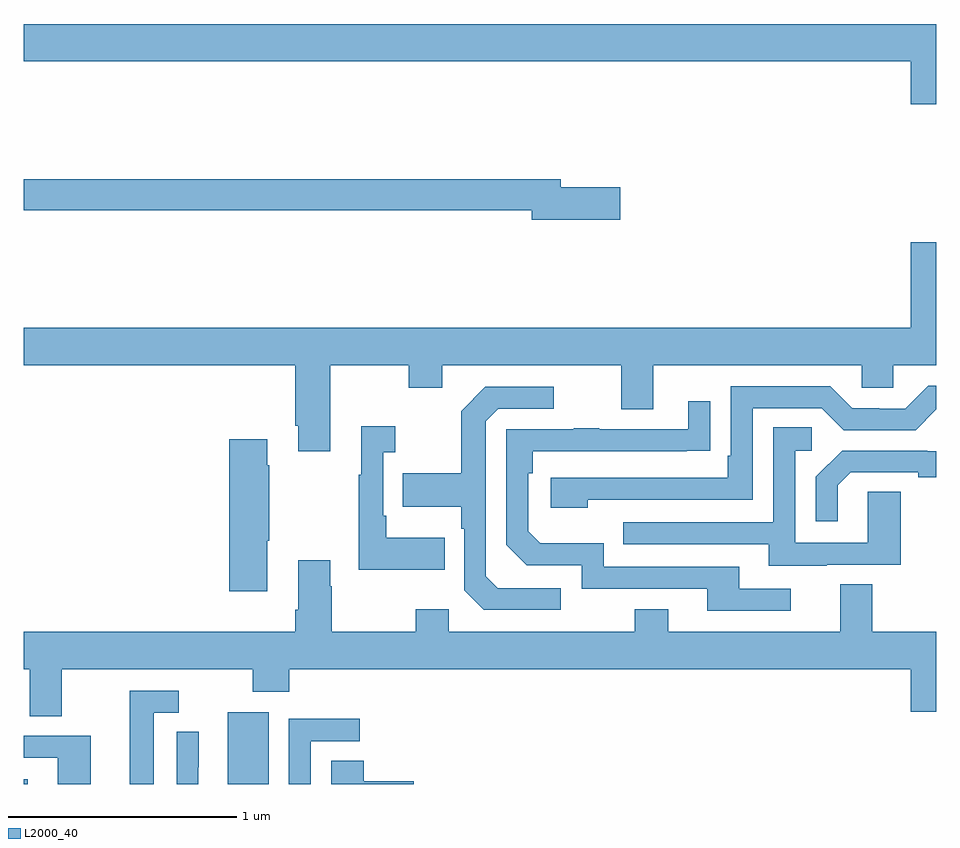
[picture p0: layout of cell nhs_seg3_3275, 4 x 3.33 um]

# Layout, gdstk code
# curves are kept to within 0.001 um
import gdstk
lib = gdstk.Library(unit=1e-6, precision=1e-09)
def R(c, l, rs):  # rectangles x0, y0, x1, y1
    for r in rs: c.add(gdstk.rectangle(r[:2], r[2:], *l))
def P(c, l, *ps):  # polygons
    for p in ps: c.add(gdstk.Polygon(p, *l))
L2000_40 = (2000, 40)

nhs_seg3_3275 = lib.new_cell('nhs_seg3_3275')
R(nhs_seg3_3275, L2000_40, [(281,712.4,281.017,712.42), (281.894,712.4,282.073,712.714)])
P(nhs_seg3_3275, L2000_40, [(285,715.732),(281,715.732),(281,715.568),(284.888,715.568),(284.888,715.38),(285,715.38)],
  [(283.615,715.016),(283.354,715.016),(283.354,715.052),(281,715.052),(281,714.916),(283.226,714.916),(283.226,714.874),(283.615,714.874)],
  [(282.343,714.236),(282.688,714.236),(282.688,714.137),(282.835,714.137),(282.835,714.236),(283.619,714.236),(283.619,714.042),(283.759,714.042),(283.759,714.236),(284.673,714.236),(284.673,714.138),(284.811,714.138),(284.811,714.236),(285,714.236),(285,714.775),(284.888,714.775),(284.888,714.4),(281,714.4),(281,714.236),(282.191,714.236),(282.191,713.971),(282.203,713.971),(282.203,713.859),(282.343,713.859)],
  [(283.472,713.646),(284.196,713.646),(284.196,714.048),(284.499,714.048),(284.595,713.952),(284.91,713.952),(285,714.042),(285,714.145),(284.965,714.145),(284.865,714.045),(284.75,714.045),(284.75,714.048),(284.631,714.048),(284.535,714.144),(284.1,714.144),(284.1,713.839),(284.087,713.839),(284.087,713.742),(283.311,713.742),(283.311,713.612),(283.472,713.612)],
  [(283.354,713.259),(283.077,713.259),(283.026,713.31),(283.026,713.991),(283.08,714.045),(283.324,714.045),(283.324,714.141),(283.023,714.141),(282.918,714.035),(282.918,713.763),(282.661,713.763),(282.661,713.615),(282.918,713.615),(282.918,713.519),(282.93,713.519),(282.93,713.25),(283.017,713.163),(283.354,713.163)],
  [(284.362,713.256),(284.137,713.256),(284.137,713.352),(283.542,713.352),(283.542,713.455),(283.265,713.455),(283.212,713.508),(283.212,713.762),(283.232,713.762),(283.232,713.859),(284.009,713.86),(284.009,714.079),(283.913,714.079),(283.913,713.955),(283.523,713.955),(283.523,713.96),(283.411,713.96),(283.411,713.955),(283.116,713.955),(283.116,713.448),(283.206,713.358),(283.446,713.358),(283.446,713.256),(283.997,713.256),(283.997,713.16),(284.362,713.16)],
  [(282.845,713.479),(282.589,713.479),(282.589,713.575),(282.576,713.575),(282.576,713.855),(282.628,713.855),(282.628,713.968),(282.479,713.968),(282.479,713.755),(282.468,713.755),(282.468,713.339),(282.845,713.339)],
  [(284.521,713.361),(284.845,713.361),(284.845,713.681),(284.7,713.681),(284.7,713.457),(284.382,713.457),(284.382,713.862),(284.455,713.862),(284.455,713.963),(284.286,713.963),(284.286,713.547),(283.627,713.547),(283.627,713.451),(284.267,713.451),(284.267,713.357),(284.521,713.357)],
  [(282.067,713.467),(282.075,713.467),(282.075,713.798),(282.067,713.798),(282.067,713.911),(281.9,713.911),(281.9,713.244),(282.067,713.244)],
  [(284.569,713.709),(284.626,713.766),(284.921,713.766),(284.921,713.744),(285,713.744),(285,713.859),(284.96,713.859),(284.96,713.862),(284.588,713.862),(284.472,713.746),(284.472,713.553),(284.569,713.553)],
  [(281.167,712.904),(282.004,712.904),(282.004,712.805),(282.164,712.805),(282.164,712.904),(284.888,712.904),(284.888,712.716),(285,712.716),(285,713.068),(284.719,713.068),(284.719,713.276),(284.579,713.276),(284.579,713.068),(283.825,713.068),(283.825,713.167),(283.678,713.167),(283.678,713.068),(282.864,713.068),(282.864,713.167),(282.718,713.167),(282.718,713.068),(282.351,713.068),(282.351,713.267),(282.343,713.267),(282.343,713.38),(282.203,713.38),(282.203,713.164),(282.191,713.164),(282.191,713.068),(281,713.068),(281,712.904),(281.027,712.904),(281.027,712.696),(281.167,712.696)],
  [(281.569,712.713),(281.68,712.713),(281.68,712.809),(281.465,712.809),(281.465,712.4),(281.569,712.4)],
  [(282.258,712.587),(282.472,712.587),(282.472,712.686),(282.162,712.686),(282.162,712.4),(282.258,712.4)],
  [(281.765,712.474),(281.766,712.474),(281.766,712.628),(281.67,712.628),(281.67,712.4),(281.765,712.4)],
  [(281.293,712.611),(281,712.611),(281,712.515),(281.148,712.515),(281.148,712.4),(281.293,712.4)],
  [(282.709,712.412),(282.491,712.412),(282.491,712.502),(282.347,712.502),(282.347,712.4),(282.709,712.4)])

lib.write_gds('nhs_seg3_3275.gds')
